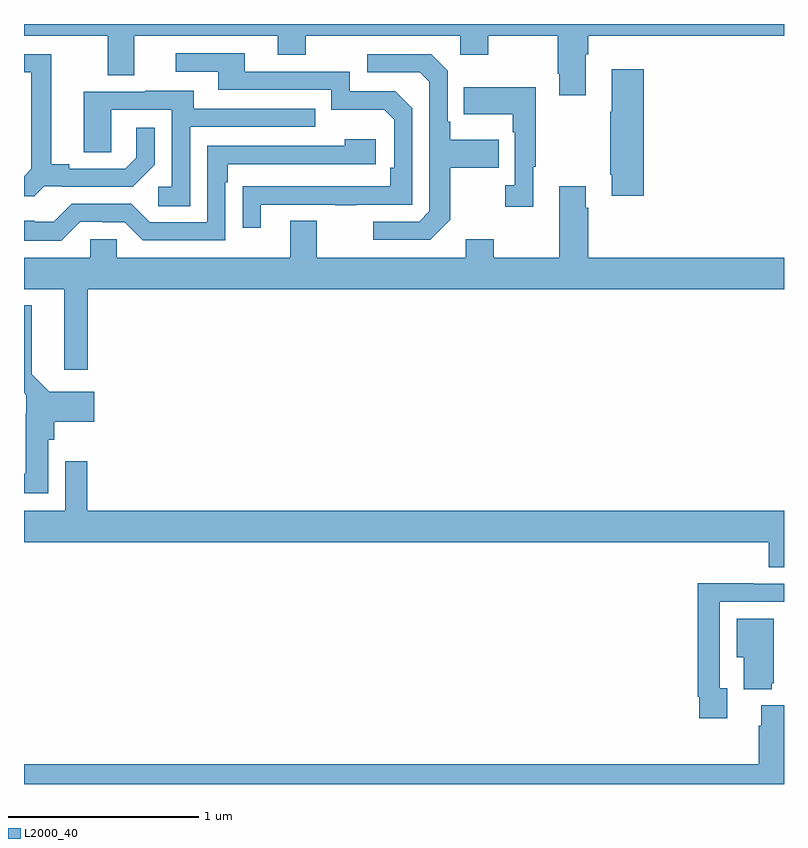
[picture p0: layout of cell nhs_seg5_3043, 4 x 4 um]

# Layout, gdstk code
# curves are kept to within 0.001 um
import gdstk
lib = gdstk.Library(unit=1e-6, precision=1e-09)
def P(c, l, *ps):  # polygons
    for p in ps: c.add(gdstk.Polygon(p, *l))
L2000_40 = (2000, 40)

nhs_seg5_3043 = lib.new_cell('nhs_seg5_3043')
P(nhs_seg5_3043, L2000_40, [(289.957,880.64),(289.97,880.64),(289.97,880.736),(291,880.736),(291,880.799),(287,880.799),(287,880.736),(287.441,880.736),(287.441,880.528),(287.581,880.528),(287.581,880.736),(288.335,880.736),(288.335,880.637),(288.483,880.637),(288.483,880.736),(289.296,880.736),(289.296,880.637),(289.443,880.637),(289.443,880.736),(289.81,880.736),(289.81,880.537),(289.817,880.537),(289.817,880.425),(289.957,880.425)],
  [(288.247,879.849),(288.637,879.849),(288.637,879.844),(288.749,879.844),(288.749,879.849),(289.044,879.849),(289.044,880.356),(288.954,880.446),(288.714,880.446),(288.714,880.548),(288.163,880.548),(288.163,880.644),(287.799,880.644),(287.799,880.548),(288.023,880.548),(288.023,880.452),(288.618,880.452),(288.618,880.349),(288.895,880.349),(288.948,880.296),(288.948,880.042),(288.928,880.042),(288.928,879.945),(288.151,879.944),(288.151,879.726),(288.247,879.726)],
  [(287.106,879.945),(287.2,879.945),(287.2,879.942),(287.572,879.942),(287.688,880.058),(287.688,880.252),(287.591,880.252),(287.591,880.095),(287.534,880.038),(287.239,880.038),(287.239,880.061),(287.143,880.061),(287.143,880.641),(287,880.641),(287,880.545),(287.039,880.545),(287.039,880.037),(287,879.998),(287,879.893),(287.054,879.893)],
  [(289.243,879.769),(289.243,880.042),(289.499,880.042),(289.499,880.189),(289.243,880.189),(289.243,880.285),(289.23,880.285),(289.23,880.554),(289.143,880.641),(288.807,880.641),(288.807,880.545),(289.083,880.545),(289.134,880.494),(289.134,879.813),(289.08,879.759),(288.837,879.759),(288.837,879.663),(289.137,879.663)],
  [(290.261,880.561),(290.093,880.561),(290.093,880.337),(290.086,880.337),(290.086,880.006),(290.093,880.006),(290.093,879.894),(290.261,879.894)],
  [(289.681,880.049),(289.693,880.049),(289.693,880.465),(289.315,880.465),(289.315,880.325),(289.572,880.325),(289.572,880.229),(289.584,880.229),(289.584,879.95),(289.533,879.95),(289.533,879.837),(289.681,879.837)],
  [(287.874,880.257),(288.533,880.257),(288.533,880.353),(287.893,880.353),(287.893,880.447),(287.639,880.447),(287.639,880.443),(287.315,880.443),(287.315,880.123),(287.46,880.123),(287.46,880.347),(287.778,880.347),(287.778,879.942),(287.706,879.942),(287.706,879.841),(287.874,879.841)],
  [(287.295,879.759),(287.411,879.759),(287.411,879.756),(287.529,879.756),(287.625,879.66),(288.06,879.66),(288.06,879.965),(288.073,879.965),(288.073,880.062),(288.85,880.062),(288.85,880.192),(288.689,880.192),(288.689,880.158),(287.964,880.158),(287.964,879.756),(287.661,879.756),(287.565,879.852),(287.25,879.852),(287.157,879.759),(287.057,879.759),(287.057,879.763),(287,879.763),(287,879.659),(287.195,879.659)],
  [(287.336,879.404),(291,879.404),(291,879.568),(289.97,879.568),(289.97,879.833),(289.957,879.833),(289.957,879.946),(289.817,879.946),(289.817,879.568),(289.473,879.568),(289.473,879.667),(289.325,879.667),(289.325,879.568),(288.541,879.568),(288.541,879.763),(288.401,879.763),(288.401,879.568),(287.487,879.568),(287.487,879.666),(287.349,879.666),(287.349,879.568),(287,879.568),(287,879.404),(287.213,879.404),(287.213,878.979),(287.336,878.979)],
  [(287.128,878.61),(287.159,878.61),(287.159,878.705),(287.371,878.705),(287.371,878.863),(287.133,878.863),(287.041,878.956),(287.041,879.319),(287,879.319),(287,878.857),(287.013,878.844),(287.013,878.75),(287.009,878.75),(287.009,878.431),(287,878.431),(287,878.33),(287.128,878.33)],
  [(291,878.236),(287.333,878.236),(287.333,878.497),(287.217,878.497),(287.217,878.236),(287,878.236),(287,878.072),(290.921,878.072),(290.921,877.939),(291,877.939)],
  [(290.701,877.302),(290.661,877.302),(290.661,877.758),(291,877.758),(291,877.854),(290.837,877.854),(290.837,877.856),(290.545,877.856),(290.545,877.258),(290.553,877.258),(290.553,877.146),(290.701,877.146)],
  [(290.936,877.329),(290.947,877.329),(290.947,877.669),(290.75,877.669),(290.75,877.466),(290.789,877.466),(290.789,877.298),(290.936,877.298)],
  [(291,877.213),(290.879,877.213),(290.879,877.106),(290.867,877.106),(290.867,876.904),(287,876.904),(287,876.799),(291,876.799)])

lib.write_gds('nhs_seg5_3043.gds')
